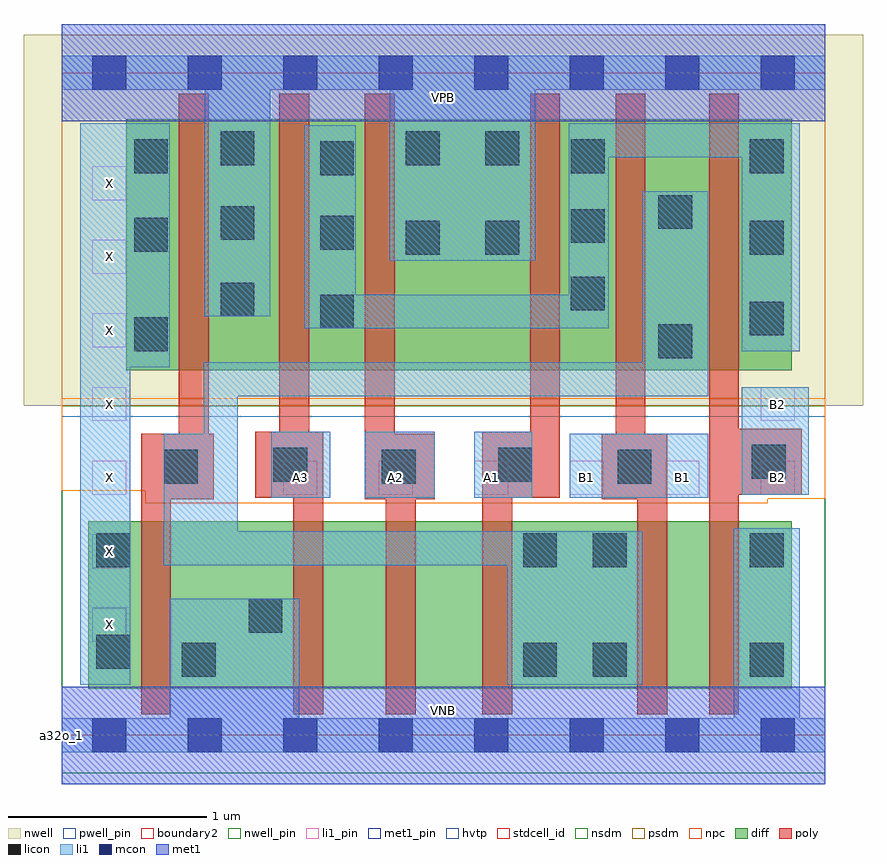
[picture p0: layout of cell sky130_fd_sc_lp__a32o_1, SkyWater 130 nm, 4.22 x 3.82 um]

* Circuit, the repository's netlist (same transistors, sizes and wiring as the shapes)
* Copyright 2020 The SkyWater PDK Authors
*
* Licensed under the Apache License, Version 2.0 (the "License");
* you may not use this file except in compliance with the License.
* You may obtain a copy of the License at
*
*     https://www.apache.org/licenses/LICENSE-2.0
*
* Unless required by applicable law or agreed to in writing, software
* distributed under the License is distributed on an "AS IS" BASIS,
* WITHOUT WARRANTIES OR CONDITIONS OF ANY KIND, either express or implied.
* See the License for the specific language governing permissions and
* limitations under the License.
*
* SPDX-License-Identifier: Apache-2.0

.SUBCKT sky130_fd_sc_lp__a32o_1 A1 A2 A3 B1 B2 VGND VNB VPB VPWR X
*.PININFO A1:I A2:I A3:I B1:I B2:I VGND:I VNB:I VPB:I VPWR:I X:O
MMPA0 pndA A1 VPWR VPB sky130_fd_pr__pfet_01v8_hvt m=1 w=1.26U l=0.15U mult=1 sa=0.265
+ sb=0.265 sd=0.28 area=0.063 perim=1.14
MMPA1 pndA A2 VPWR VPB sky130_fd_pr__pfet_01v8_hvt m=1 w=1.26U l=0.15U mult=1 sa=0.265
+ sb=0.265 sd=0.28 area=0.063 perim=1.14
MMPA2 pndA A3 VPWR VPB sky130_fd_pr__pfet_01v8_hvt m=1 w=1.26U l=0.15U mult=1 sa=0.265
+ sb=0.265 sd=0.28 area=0.063 perim=1.14
MMPB0 y B1 pndA VPB sky130_fd_pr__pfet_01v8_hvt m=1 w=1.26U l=0.15U mult=1 sa=0.265
+ sb=0.265 sd=0.28 area=0.063 perim=1.14
MMPB1 y B2 pndA VPB sky130_fd_pr__pfet_01v8_hvt m=1 w=1.26U l=0.15U mult=1 sa=0.265
+ sb=0.265 sd=0.28 area=0.063 perim=1.14
MMIPX X y VPWR VPB sky130_fd_pr__pfet_01v8_hvt m=1 w=1.26U l=0.15U mult=1 sa=0.265
+ sb=0.265 sd=0.28 area=0.063 perim=1.14
MMNA0 y A1 sndA1 VNB sky130_fd_pr__nfet_01v8 m=1 w=0.84U l=0.15U mult=1 sa=0.265
+ sb=0.265 sd=0.28 area=0.063 perim=1.14
MMNA1 sndA1 A2 sndA2 VNB sky130_fd_pr__nfet_01v8 m=1 w=0.84U l=0.15U mult=1 sa=0.265
+ sb=0.265 sd=0.28 area=0.063 perim=1.14
MMNA2 sndA2 A3 VGND VNB sky130_fd_pr__nfet_01v8 m=1 w=0.84U l=0.15U mult=1 sa=0.265
+ sb=0.265 sd=0.28 area=0.063 perim=1.14
MMNB0 y B1 sndB1 VNB sky130_fd_pr__nfet_01v8 m=1 w=0.84U l=0.15U mult=1 sa=0.265
+ sb=0.265 sd=0.28 area=0.063 perim=1.14
MMNB1 sndB1 B2 VGND VNB sky130_fd_pr__nfet_01v8 m=1 w=0.84U l=0.15U mult=1 sa=0.265
+ sb=0.265 sd=0.28 area=0.063 perim=1.14
MMINX X y VGND VNB sky130_fd_pr__nfet_01v8 m=1 w=0.84U l=0.15U mult=1 sa=0.265
+ sb=0.265 sd=0.28 area=0.063 perim=1.14
.ENDS sky130_fd_sc_lp__a32o_1

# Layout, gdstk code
import gdstk
lib = gdstk.Library(unit=1e-6, precision=1e-09)
def R(c, l, rs):  # rectangles x0, y0, x1, y1
    for r in rs: c.add(gdstk.rectangle(r[:2], r[2:], *l))
def A(c, l, x, y, w, h, nx, ny, dx, dy):  # array of equal rectangles
    R(c, l, [(x+i*dx, y+j*dy, x+i*dx+w, y+j*dy+h) for i in range(nx) for j in range(ny)])
def P(c, l, *ps):  # polygons
    for p in ps: c.add(gdstk.Polygon(p, *l))
nwell_pin = (64, 16)
nwell = (64, 20)
diff = (65, 20)
poly = (66, 20)
licon = (66, 44)
li1_pin = (67, 16)
li1 = (67, 20)
mcon = (67, 44)
met1_pin = (68, 16)
met1 = (68, 20)
hvtp = (78, 44)
stdcell_id = (81, 4)
nsdm = (93, 44)
psdm = (94, 20)
npc = (95, 20)
pwell_pin = (122, 16)
boundary2 = (236, 0)

sky130_fd_sc_lp__a32o_1 = lib.new_cell('sky130_fd_sc_lp__a32o_1')
R(sky130_fd_sc_lp__a32o_1, nwell_pin, [(0,3.085,3.84,3.33)])
R(sky130_fd_sc_lp__a32o_1, nwell, [(-0.19,1.655,4.03,3.52)])
R(sky130_fd_sc_lp__a32o_1, diff, [(0.135,0.235,3.67,1.075), (0.325,1.835,3.67,3.095)])
P(sky130_fd_sc_lp__a32o_1, poly, [(0.765,1.515),(0.74,1.515),(0.74,3.225),(0.59,3.225),(0.59,1.515),(0.4,1.515),(0.4,0.105),(0.55,0.105),(0.55,1.185),(0.765,1.185)],
  [(1.315,1.525),(1.245,1.525),(1.245,3.225),(1.095,3.225),(1.095,1.525),(0.975,1.525),(0.975,1.195),(1.165,1.195),(1.165,0.105),(1.315,0.105)],
  [(1.875,1.515),(1.675,1.515),(1.675,3.225),(1.525,3.225),(1.525,1.185),(1.63,1.185),(1.63,0.105),(1.78,0.105),(1.78,1.185),(1.875,1.185)],
  [(2.505,3.225),(2.355,3.225),(2.355,1.525),(2.115,1.525),(2.115,0.105),(2.265,0.105),(2.265,1.195),(2.505,1.195)],
  [(3.045,1.515),(2.935,1.515),(2.935,3.225),(2.785,3.225),(2.785,1.515),(2.715,1.515),(2.715,1.185),(2.895,1.185),(2.895,0.105),(3.045,0.105)],
  [(3.72,1.54),(3.405,1.54),(3.405,3.225),(3.255,3.225),(3.255,0.105),(3.405,0.105),(3.405,1.21),(3.72,1.21)])
R(sky130_fd_sc_lp__a32o_1, licon, [(0.605,0.295,0.775,0.465), (2.32,0.295,2.49,0.465), (2.67,0.295,2.84,0.465), (3.46,0.295,3.63,0.465), (0.175,0.335,0.345,0.505), (0.94,0.515,1.11,0.685), (0.175,0.845,0.345,1.015), (2.32,0.845,2.49,1.015), (2.67,0.845,2.84,1.015), (3.46,0.845,3.63,1.015), (0.515,1.265,0.685,1.435), (1.61,1.265,1.78,1.435), (2.795,1.265,2.965,1.435), (1.065,1.275,1.235,1.445), (2.195,1.275,2.365,1.445), (3.47,1.29,3.64,1.46), (3,1.895,3.17,2.065), (0.365,1.93,0.535,2.1), (3.46,2.01,3.63,2.18), (1.3,2.045,1.47,2.215), (0.8,2.105,0.97,2.275), (2.56,2.135,2.73,2.305), (1.73,2.415,1.9,2.585), (2.13,2.415,2.3,2.585), (3.46,2.415,3.63,2.585), (0.365,2.43,0.535,2.6), (1.3,2.44,1.47,2.61), (2.56,2.475,2.73,2.645), (0.8,2.49,0.97,2.66), (3,2.545,3.17,2.715), (1.3,2.815,1.47,2.985), (0.365,2.825,0.535,2.995), (2.56,2.825,2.73,2.995), (3.46,2.825,3.63,2.995), (0.8,2.865,0.97,3.035), (1.73,2.865,1.9,3.035), (2.13,2.865,2.3,3.035)])
A(sky130_fd_sc_lp__a32o_1, li1_pin, 0.155, 0.47, 0.17, 0.17, 1, 7, 0, 0.37)
A(sky130_fd_sc_lp__a32o_1, li1_pin, 1.115, 1.21, 0.17, 0.17, 6, 1, 0.48, 0)
R(sky130_fd_sc_lp__a32o_1, li1_pin, [(3.515,1.58,3.685,1.75)])
R(sky130_fd_sc_lp__a32o_1, li1, [(1.055,1.195,1.35,1.525), (1.525,1.195,1.875,1.525), (2.075,1.195,2.365,1.525), (2.555,1.195,3.25,1.515), (3.42,1.21,3.755,1.75)])
P(sky130_fd_sc_lp__a32o_1, li1, [(0.72,2.105),(0.72,3.245),(0,3.245),(0,3.415),(3.84,3.415),(3.84,3.245),(2.38,3.245),(2.38,2.385),(1.65,2.385),(1.65,3.245),(1.05,3.245),(1.05,2.105)],
  [(3.38,0.085),(3.38,1.04),(3.71,1.04),(3.71,0.085),(3.84,0.085),(3.84,-0.085),(0,-0.085),(0,0.085),(0.545,0.085),(0.545,0.685),(1.195,0.685),(1.195,0.085)],
  [(3.71,3.075),(3.71,1.93),(3.42,1.93),(3.42,2.905),(2.75,2.905),(2.75,2.045),(1.22,2.045),(1.22,3.065),(1.48,3.065),(1.48,2.215),(2.55,2.215),(2.55,3.075)],
  [(0.715,1.875),(2.92,1.875),(2.92,2.735),(3.25,2.735),(3.25,1.705),(0.885,1.705),(0.885,1.025),(2.92,1.025),(2.92,0.255),(2.24,0.255),(2.24,0.855),(0.515,0.855),(0.515,1.515),(0.715,1.515)],
  [(0.095,0.255),(0.095,3.075),(0.545,3.075),(0.545,1.85),(0.345,1.85),(0.345,0.255)])
A(sky130_fd_sc_lp__a32o_1, mcon, 0.155, -0.085, 0.17, 0.17, 8, 2, 0.48, 3.33)
R(sky130_fd_sc_lp__a32o_1, met1_pin, [(0,0,3.84,0.245), (0,3.085,3.84,3.33)])
R(sky130_fd_sc_lp__a32o_1, met1, [(0,-0.245,3.84,0.245), (0,3.085,3.84,3.575)])
R(sky130_fd_sc_lp__a32o_1, hvtp, [(0,1.6,3.84,3.33)])
R(sky130_fd_sc_lp__a32o_1, stdcell_id, [(0,0,3.84,3.33)])
R(sky130_fd_sc_lp__a32o_1, nsdm, [(0,-0.19,3.84,1.655)])
R(sky130_fd_sc_lp__a32o_1, psdm, [(0,1.655,3.84,3.52)])
P(sky130_fd_sc_lp__a32o_1, npc, [(3.84,1.695),(0,1.695),(0,1.23),(0.42,1.23),(0.42,1.165),(3.55,1.165),(3.55,1.19),(3.84,1.19)])
R(sky130_fd_sc_lp__a32o_1, pwell_pin, [(0,0,3.84,0.245)])
R(sky130_fd_sc_lp__a32o_1, boundary2, [(0,0,3.84,3.33)])
sky130_fd_sc_lp__a32o_1.add(gdstk.Label('VNB', (1.92,0.123), layer=64, texttype=59))
sky130_fd_sc_lp__a32o_1.add(gdstk.Label('VPB', (1.92,3.208), layer=64, texttype=5))
sky130_fd_sc_lp__a32o_1.add(gdstk.Label('a32o_1', (0,0), layer=83, texttype=44))
sky130_fd_sc_lp__a32o_1.add(gdstk.Label('VPWR', (1.92,3.208), layer=68, texttype=5))
sky130_fd_sc_lp__a32o_1.add(gdstk.Label('VGND', (1.92,0.123), layer=68, texttype=5))
sky130_fd_sc_lp__a32o_1.add(gdstk.Label('A1', (2.16,1.295), layer=67, texttype=5))
sky130_fd_sc_lp__a32o_1.add(gdstk.Label('A2', (1.68,1.295), layer=67, texttype=5))
sky130_fd_sc_lp__a32o_1.add(gdstk.Label('A3', (1.2,1.295), layer=67, texttype=5))
sky130_fd_sc_lp__a32o_1.add(gdstk.Label('B1', (2.64,1.295), layer=67, texttype=5))
sky130_fd_sc_lp__a32o_1.add(gdstk.Label('B1', (3.12,1.295), layer=67, texttype=5))
sky130_fd_sc_lp__a32o_1.add(gdstk.Label('B2', (3.6,1.295), layer=67, texttype=5))
sky130_fd_sc_lp__a32o_1.add(gdstk.Label('B2', (3.6,1.665), layer=67, texttype=5))
sky130_fd_sc_lp__a32o_1.add(gdstk.Label('X', (0.24,0.555), layer=67, texttype=5))
sky130_fd_sc_lp__a32o_1.add(gdstk.Label('X', (0.24,0.925), layer=67, texttype=5))
sky130_fd_sc_lp__a32o_1.add(gdstk.Label('X', (0.24,1.295), layer=67, texttype=5))
sky130_fd_sc_lp__a32o_1.add(gdstk.Label('X', (0.24,1.665), layer=67, texttype=5))
sky130_fd_sc_lp__a32o_1.add(gdstk.Label('X', (0.24,2.035), layer=67, texttype=5))
sky130_fd_sc_lp__a32o_1.add(gdstk.Label('X', (0.24,2.405), layer=67, texttype=5))
sky130_fd_sc_lp__a32o_1.add(gdstk.Label('X', (0.24,2.775), layer=67, texttype=5))

lib.write_gds('sky130_fd_sc_lp__a32o_1.gds')
